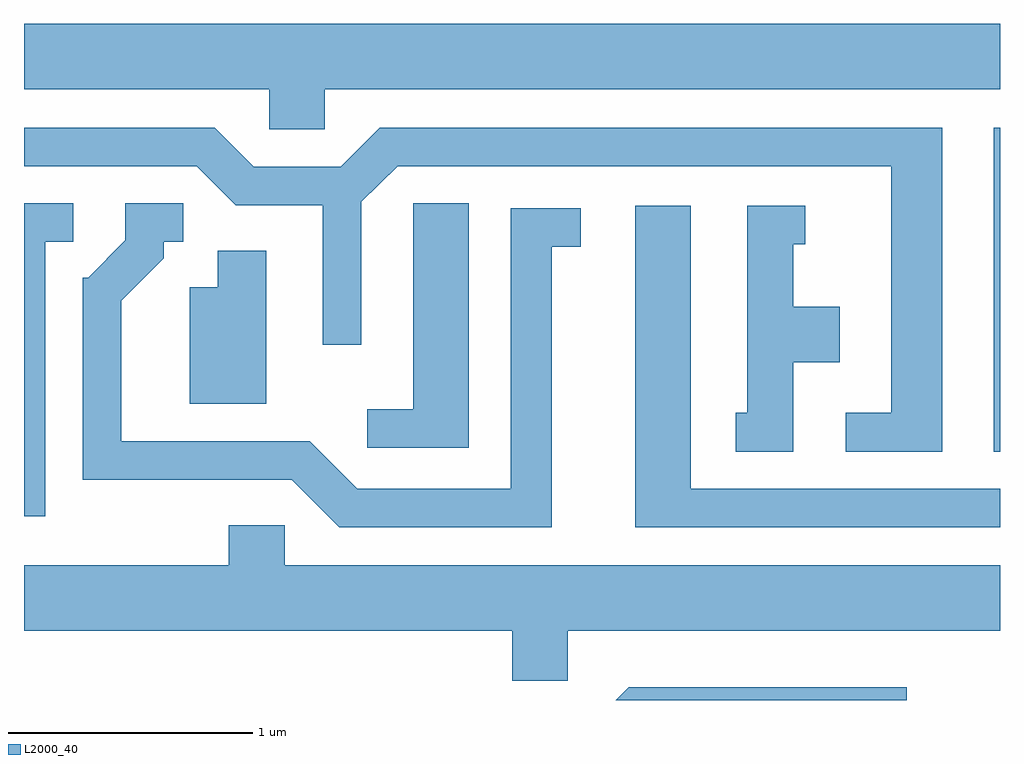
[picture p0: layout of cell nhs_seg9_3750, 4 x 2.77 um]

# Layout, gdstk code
import gdstk
lib = gdstk.Library(unit=1e-6, precision=1e-09)
def R(c, l, rs):  # rectangles x0, y0, x1, y1
    for r in rs: c.add(gdstk.rectangle(r[:2], r[2:], *l))
def P(c, l, *ps):  # polygons
    for p in ps: c.add(gdstk.Polygon(p, *l))
L2000_40 = (2000, 40)

nhs_seg9_3750 = lib.new_cell('nhs_seg9_3750')
R(nhs_seg9_3750, L2000_40, [(299.586,1981.451,299.611,1982.779)])
P(nhs_seg9_3750, L2000_40, [(296.844,1982.936),(299.611,1982.936),(299.611,1983.204),(295.611,1983.204),(295.611,1982.936),(296.616,1982.936),(296.616,1982.771),(296.844,1982.771)],
  [(299.374,1982.779),(297.069,1982.779),(296.909,1982.619),(296.552,1982.619),(296.392,1982.779),(295.611,1982.779),(295.611,1982.621),(296.319,1982.621),(296.479,1982.461),(296.836,1982.461),(296.836,1981.888),(296.994,1981.888),(296.994,1982.474),(297.142,1982.621),(299.166,1982.621),(299.166,1981.609),(298.978,1981.609),(298.978,1981.451),(299.374,1981.451)],
  [(295.699,1982.311),(295.813,1982.311),(295.813,1982.469),(295.611,1982.469),(295.611,1981.186),(295.699,1981.186)],
  [(297.434,1982.469),(297.206,1982.469),(297.206,1981.624),(297.018,1981.624),(297.018,1981.466),(297.434,1981.466)],
  [(297.774,1982.291),(297.893,1982.291),(297.893,1982.449),(297.606,1982.449),(297.606,1981.299),(296.977,1981.299),(296.782,1981.494),(296.009,1981.494),(296.009,1982.069),(296.184,1982.244),(296.184,1982.311),(296.263,1982.311),(296.263,1982.469),(296.026,1982.469),(296.026,1982.317),(295.874,1982.164),(295.851,1982.164),(295.851,1981.336),(296.709,1981.336),(296.904,1981.141),(297.774,1981.141)],
  [(299.611,1981.299),(298.344,1981.299),(298.344,1982.459),(298.116,1982.459),(298.116,1981.141),(299.611,1981.141)],
  [(298.764,1981.816),(298.954,1981.816),(298.954,1982.044),(298.764,1982.044),(298.764,1982.301),(298.813,1982.301),(298.813,1982.459),(298.576,1982.459),(298.576,1981.609),(298.528,1981.609),(298.528,1981.451),(298.764,1981.451)],
  [(296.604,1982.274),(296.406,1982.274),(296.406,1982.124),(296.291,1982.124),(296.291,1981.646),(296.604,1981.646)],
  [(297.839,1980.716),(299.611,1980.716),(299.611,1980.984),(296.679,1980.984),(296.679,1981.149),(296.451,1981.149),(296.451,1980.984),(295.611,1980.984),(295.611,1980.716),(297.611,1980.716),(297.611,1980.511),(297.839,1980.511)],
  [(299.228,1980.484),(298.089,1980.484),(298.037,1980.432),(299.228,1980.432)])

lib.write_gds('nhs_seg9_3750.gds')
